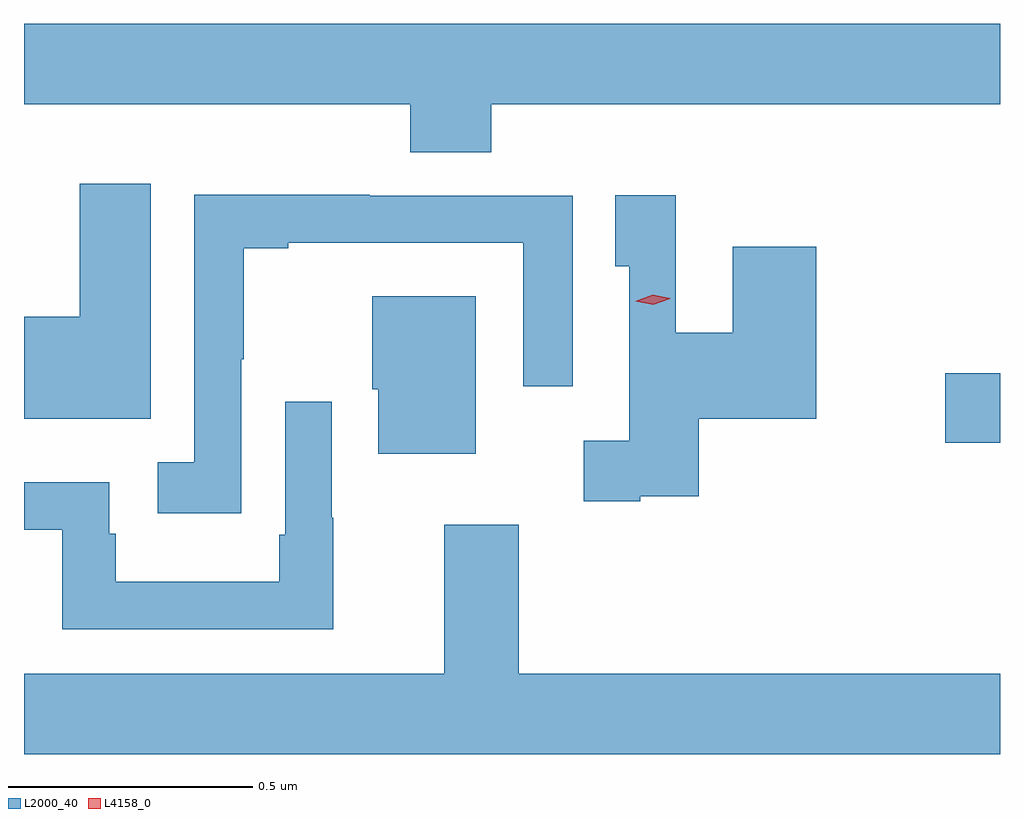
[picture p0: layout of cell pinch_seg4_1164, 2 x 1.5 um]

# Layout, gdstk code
import gdstk
lib = gdstk.Library(unit=1e-6, precision=1e-09)
def R(c, l, rs):  # rectangles x0, y0, x1, y1
    for r in rs: c.add(gdstk.rectangle(r[:2], r[2:], *l))
def P(c, l, *ps):  # polygons
    for p in ps: c.add(gdstk.Polygon(p, *l))
L2000_40 = (2000, 40)
L4158_0 = (4158, 0)

pinch_seg4_1164 = lib.new_cell('pinch_seg4_1164')
R(pinch_seg4_1164, L2000_40, [(467.478,770.818,467.59,770.96)])
P(pinch_seg4_1164, L2000_40, [(466.547,771.512),(467.59,771.512),(467.59,771.676),(465.59,771.676),(465.59,771.512),(466.382,771.512),(466.382,771.413),(466.547,771.413)],
  [(465.85,771.349),(465.704,771.349),(465.704,771.076),(465.59,771.076),(465.59,770.867),(465.85,770.867)],
  [(466.035,770.989),(466.04,770.989),(466.04,771.216),(466.132,771.216),(466.132,771.228),(466.613,771.228),(466.613,770.934),(466.714,770.934),(466.714,771.324),(466.298,771.324),(466.298,771.326),(465.939,771.326),(465.939,770.778),(465.864,770.778),(465.864,770.673),(466.035,770.673)],
  [(466.853,770.708),(466.973,770.708),(466.973,770.867),(467.213,770.867),(467.213,771.22),(467.042,771.22),(467.042,771.043),(466.926,771.043),(466.926,771.325),(466.802,771.325),(466.802,771.18),(466.83,771.18),(466.83,770.822),(466.737,770.822),(466.737,770.698),(466.853,770.698)],
  [(466.516,771.118),(466.304,771.118),(466.304,770.928),(466.316,770.928),(466.316,770.795),(466.516,770.795)],
  [(466.224,770.664),(466.221,770.664),(466.221,770.902),(466.125,770.902),(466.125,770.629),(466.113,770.629),(466.113,770.533),(465.778,770.533),(465.778,770.631),(465.765,770.631),(465.765,770.737),(465.59,770.737),(465.59,770.64),(465.668,770.64),(465.668,770.436),(466.224,770.436)],
  [(467.59,770.344),(466.604,770.344),(466.604,770.65),(466.451,770.65),(466.451,770.344),(465.59,770.344),(465.59,770.18),(467.59,770.18)])
P(pinch_seg4_1164, L4158_0, [(466.879,771.101),(466.843,771.108),(466.843,771.108),(466.843,771.108),(466.878,771.121),(466.914,771.114),(466.914,771.114),(466.914,771.113)])

lib.write_gds('pinch_seg4_1164.gds')
